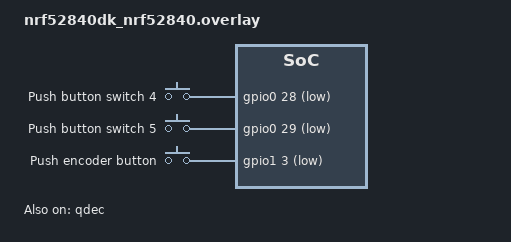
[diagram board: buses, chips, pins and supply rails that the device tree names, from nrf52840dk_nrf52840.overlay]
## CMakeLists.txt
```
# SPDX-License-Identifier: Apache-2.0

cmake_minimum_required(VERSION 3.20.0)
find_package(Zephyr REQUIRED HINTS $ENV{ZEPHYR_BASE})
project(bmk_firmware)

FILE(GLOB app_sources src/*.c)
target_sources(app PRIVATE
  src/main.c
  src/board.c
#  src/led.c
#  src/display.c
#  src/i2c_devices.c
#  src/charger.c
#  src/lis2dh/lis2dh.c
#  src/max17048/max17048.c
#  src/pictures/gta_picture.c
#  src/pictures/vsc_picture.c
#  src/pictures/altium_picture.c
#  src/pictures/logo_picture.c
#  src/pictures/ble_picture.c
#  src/pictures/battery_picture.c
#  src/pictures/plug_picture.c

)
```

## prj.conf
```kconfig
#
# Copyright (c) 2018 Nordic Semiconductor
#
# SPDX-License-Identifier: LicenseRef-Nordic-5-Clause
#

CONFIG_NCS_SAMPLES_DEFAULTS=y

CONFIG_NFCT_PINS_AS_GPIOS=y

# Enable RTT LOGGING
#CONFIG_USE_SEGGER_RTT=y
#CONFIG_LOG=y
#CONFIG_CONSOLE=y
#CONFIG_RTT_CONSOLE=y

CONFIG_BT=y
#CONFIG_BT_DEBUG_LOG=y
CONFIG_BT_MAX_CONN=2
CONFIG_BT_MAX_PAIRED=2
CONFIG_BT_SMP=y
CONFIG_BT_L2CAP_TX_BUF_COUNT=5
CONFIG_BT_PERIPHERAL=y
CONFIG_BT_DEVICE_NAME="BLE volume"
CONFIG_BT_DEVICE_APPEARANCE=961

CONFIG_BT_BAS=y
CONFIG_BT_HIDS=y
CONFIG_BT_HIDS_MAX_CLIENT_COUNT=2
CONFIG_BT_HIDS_DEFAULT_PERM_RW_ENCRYPT=y
CONFIG_BT_GATT_UUID16_POOL_SIZE=40
CONFIG_BT_GATT_CHRC_POOL_SIZE=20

CONFIG_BT_CONN_CTX=y

CONFIG_BT_DIS=y
CONFIG_BT_DIS_PNP=y
CONFIG_BT_DIS_MANUF="NordicSemiconductor"
CONFIG_BT_DIS_PNP_VID_SRC=2
CONFIG_BT_DIS_PNP_VID=0x1915
CONFIG_BT_DIS_PNP_PID=0xEEEF
CONFIG_BT_DIS_PNP_VER=0x0100

CONFIG_SYSTEM_WORKQUEUE_STACK_SIZE=2048

CONFIG_BT_SETTINGS=y
CONFIG_FLASH=y
CONFIG_FLASH_PAGE_LAYOUT=y
CONFIG_FLASH_MAP=y
CONFIG_NVS=y
CONFIG_SETTINGS=y

# POWER MANAGEMENT
#CONFIG_PM_DEVICE=y

# LED STRIP config
#CONFIG_LED_STRIP=y
#CONFIG_LED_STRIP_LOG_LEVEL_DBG=n
#CONFIG_WS2812_STRIP=y
#CONFIG_WS2812_STRIP_SPI=y

# SPI config
#CONFIG_SPI=y
#CONFIG_SPI_NRFX=y
#CONFIG_SPI_NRFX_RAM_BUFFER_SIZE=32

# DISPLAY config
#CONFIG_ST7789V=y
#CONFIG_ST7789V_RGB565=y
#CONFIG_DISPLAY=y
##CONFIG_DISPLAY_LOG_LEVEL_ERR=y

# LVGL config
#CONFIG_LVGL=y
#CONFIG_LV_COLOR_16_SWAP=y
#CONFIG_LV_USE_LABEL=y
#CONFIG_LV_FONT_DEFAULT_MONTSERRAT_24=y

# LED PWM
#CONFIG_PWM=y
#CONFIG_LED=y

# I2C
#CONFIG_I2C=y

CONFIG_SENSOR=y
```

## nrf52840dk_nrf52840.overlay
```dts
/ {
	buttons {
		compatible = "gpio-keys";
		button4: button_4 {
			gpios = <&gpio0 28 (GPIO_PULL_UP | GPIO_ACTIVE_LOW)>;
			label = "Push button switch 4";
		};
		button5: button_5 {
			gpios = <&gpio0 29 (GPIO_PULL_UP | GPIO_ACTIVE_LOW)>;
			label = "Push button switch 5";
		};
		buttonen: button_en {
			gpios = <&gpio1 3 (GPIO_PULL_UP | GPIO_ACTIVE_LOW)>;
			label = "Push encoder button";
		};
	};
};

&pinctrl {
    qdec_default: qdec_default {							
        group1 {
            psels = <NRF_PSEL(QDEC_A, 1, 1)>,
                <NRF_PSEL(QDEC_B, 1, 2)>;
        };
    };

    qdec_sleep: qdec_sleep {								
        group1 {
            psels = <NRF_PSEL(QDEC_A, 1, 1)>,
                <NRF_PSEL(QDEC_B, 1, 2)>;
            low-power-enable;
        };
    };
};

&qdec {														
	status = "okay";
	enable-pin = <36>;
	led-pre = <0>;
	steps = <80>;
	pinctrl-0 = <&qdec_default>;
	pinctrl-1 = <&qdec_sleep>;
	pinctrl-names = "default", "sleep";
};


/ {
    aliases {
        sw4 = &button4;
        sw5 = &button5;
		swen = &buttonen;
		qdec0 = &qdec;	
    };
};
```

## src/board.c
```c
//---------------------------------------------------------------------------
// Includes
//---------------------------------------------------------------------------
#include <zephyr/types.h>
#include <zephyr/device.h>
#include <zephyr/devicetree.h>
#include <stddef.h>
#include <string.h>
#include <errno.h>
#include <zephyr/sys/printk.h>
#include <zephyr/sys/byteorder.h>
#include <zephyr/kernel.h>
#include <zephyr/drivers/gpio.h>
#include <soc.h>

#include <zephyr/bluetooth/bluetooth.h>
#include <zephyr/bluetooth/hci.h>
#include <zephyr/bluetooth/conn.h>
#include <zephyr/bluetooth/uuid.h>
#include <zephyr/bluetooth/gatt.h>

#include <zephyr/settings/settings.h>

#include <zephyr/sys/printk.h>
#include <zephyr/logging/log.h>

#include "main.h"
#include "board.h"

//---------------------------------------------------------------------------
// Definitions 
//---------------------------------------------------------------------------
// const struct gpio_dt_spec led_red = GPIO_DT_SPEC_GET(LEDR_NODE, gpios);
// const struct gpio_dt_spec led_green = GPIO_DT_SPEC_GET(LEDG_NODE, gpios);
// const struct gpio_dt_spec led_blue = GPIO_DT_SPEC_GET(LEDB_NODE, gpios);

// const struct gpio_dt_spec enusbdet = GPIO_DT_SPEC_GET(ENUSBDET_NODE, gpios);
// const struct gpio_dt_spec usbdet = GPIO_DT_SPEC_GET(USBDET_NODE, gpios);

// const struct gpio_dt_spec chrgdet = GPIO_DT_SPEC_GET(CHRGDET_NODE, gpios);
// const struct gpio_dt_spec chrgen = GPIO_DT_SPEC_GET(CHRGEN_NODE, gpios);

// const struct gpio_dt_spec vleden = GPIO_DT_SPEC_GET(VLEDEN_NODE, gpios);

// const struct gpio_dt_spec buzzer = GPIO_DT_SPEC_GET(BUZZER_NODE, gpios);

// const struct gpio_dt_spec accelint1 = GPIO_DT_SPEC_GET(ACCEL1_NODE, gpios);
// const struct gpio_dt_spec accelint2 = GPIO_DT_SPEC_GET(ACCEL2_NODE, gpios);



const struct gpio_dt_spec switch4 = GPIO_DT_SPEC_GET(SW4_NODE, gpios);
const struct gpio_dt_spec switch5 = GPIO_DT_SPEC_GET(SW5_NODE, gpios);
const struct gpio_dt_spec switch_en = GPIO_DT_SPEC_GET(SW_EN_NODE, gpios);





//const struct gpio_dt_spec switch6 = GPIO_DT_SPEC_GET(SW6_NODE, gpios);
///const struct gpio_dt_spec switch7 = GPIO_DT_SPEC_GET(SW7_NODE, gpios);
// const struct gpio_dt_spec col2 = GPIO_DT_SPEC_GET(COL2_NODE, gpios);
// const struct gpio_dt_spec col3 = GPIO_DT_SPEC_GET(COL3_NODE, gpios);
// const struct gpio_dt_spec col4 = GPIO_DT_SPEC_GET(COL4_NODE, gpios);
// const struct gpio_dt_spec row1 = GPIO_DT_SPEC_GET(ROW1_NODE, gpios);
// const struct gpio_dt_spec row2 = GPIO_DT_SPEC_GET(ROW2_NODE, gpios);
// const struct gpio_dt_spec row3 = GPIO_DT_SPEC_GET(ROW3_NODE, gpios);

// const struct gpio_dt_spec disprst = GPIO_DT_SPEC_GET(DISPRST_NODE, gpios);
// const struct gpio_dt_spec dispbk = GPIO_DT_SPEC_GET(DISPBK_NODE, gpios);
// const struct gpio_dt_spec dispdc = GPIO_DT_SPEC_GET(DISPDC_NODE, gpios);
// const struct gpio_dt_spec dispcs = GPIO_DT_SPEC_GET(DISPCS_NODE, gpios);
//const struct gpio_dt_spec dispdata = GPIO_DT_SPEC_GET(DISPDATA_NODE, gpios);
//const struct gpio_dt_spec dispclk = GPIO_DT_SPEC_GET(DISPCLK_NODE, gpios);

//---------------------------------------------------------------------------
// Implementation 
//---------------------------------------------------------------------------
//===============================================================================================================
int gpio_init(void)
{
	int ret=0;

	// if(!device_is_ready(col1.port)) return -1;
	// if(!device_is_ready(col2.port)) return -1;
	// if(!device_is_ready(col3.port)) return -1;
	// if(!device_is_ready(col4.port)) return -1;
	// if(!device_is_ready(row1.port)) return -1;
	// if(!device_is_ready(row2.port)) return -1;
	// if(!device_is_ready(row3.port)) return -1;				//czy to dla wszystkich pinow?

	// ret = gpio_pin_configure_dt(&led_red, GPIO_OUTPUT);
	// if(ret!=0) return ret;
	// gpio_pin_set_dt(&led_red,0);

	// ret = gpio_pin_configure_dt(&led_green, GPIO_OUTPUT);
	// if(ret!=0) return ret;
	// gpio_pin_set_dt(&led_green,0);

	// ret = gpio_pin_configure_dt(&led_blue, GPIO_OUTPUT);
	// if(ret!=0) return ret;
	// gpio_pin_set_dt(&led_blue,0);

	// ret = gpio_pin_configure_dt(&buzzer, GPIO_OUTPUT);
	// if(ret!=0) return ret;
	// gpio_pin_set_dt(&buzzer,0);

	// ret = gpio_pin_configure_dt(&vleden, GPIO_OUTPUT);
	// if(ret!=0) return ret;
	// gpio_pin_set_dt(&vleden,0);

	// ret = gpio_pin_configure_dt(&enusbdet, GPIO_OUTPUT);
	// if(ret!=0) return ret;
	// gpio_pin_set_dt(&enusbdet,0);







	ret = gpio_pin_configure_dt(&switch4, GPIO_INPUT);
	if(ret!=0) return ret;

	ret = gpio_pin_configure_dt(&switch5, GPIO_INPUT);
	if(ret!=0) return ret;

	ret = gpio_pin_configure_dt(&switch_en, GPIO_INPUT);
	if(ret!=0) return ret;








	// ret = gpio_pin_configure_dt(&switch6, GPIO_INPUT);
	// if(ret!=0) return ret;

	// ret = gpio_pin_configure_dt(&switch7, GPIO_INPUT);
	// if(ret!=0) return ret;
	
	// charger_off();

	// ret = gpio_pin_configure_dt(&chrgdet, GPIO_INPUT);
	// if(ret!=0) return ret;

	// ret = gpio_pin_configure_dt(&dispbk, GPIO_OUTPUT);
	// if(ret!=0) return ret;
	// gpio_pin_set_dt(&dispbk,0);

	// ret = gpio_pin_configure_dt(&accelint1, GPIO_INPUT);
	// if(ret!=0) return ret;

	// ret = gpio_pin_configure_dt(&accelint2, GPIO_INPUT);
	// if(ret!=0) return ret;

	// ret = gpio_pin_configure_dt(&col1, GPIO_OUTPUT);
	// if(ret!=0) return ret;
	// gpio_pin_set_dt(&col1,1);

	// ret = gpio_pin_configure_dt(&col2, GPIO_OUTPUT);
	// if(ret!=0) return ret;
	// gpio_pin_set_dt(&col2,1);
	
	// ret = gpio_pin_configure_dt(&col3, GPIO_OUTPUT);
	// if(ret!=0) return ret;
	// gpio_pin_set_dt(&col3,1);

	// ret = gpio_pin_configure_dt(&col4, GPIO_OUTPUT);
	// if(ret!=0) return ret;
	// gpio_pin_set_dt(&col4,1);

	// ret = gpio_pin_configure_dt(&row1, GPIO_INPUT| GPIO_PULL_UP);
	// if(ret!=0) return ret;
	// ret = gpio_pin_configure_dt(&row2, GPIO_INPUT| GPIO_PULL_UP);
	// if(ret!=0) return ret;
	// ret = gpio_pin_configure_dt(&row3, GPIO_INPUT| GPIO_PULL_UP);
	// if(ret!=0) return ret;

	return ret;
}

//===============================================================================================================
// int charger_on(void)
// {
// 	int ret=0;
	
// 	ret = gpio_pin_configure_dt(&chrgen, GPIO_OUTPUT);
// 	if(ret!=0) return ret;
// 	gpio_pin_set_dt(&chrgen,0);

// 	return 0;
// }

// //===============================================================================================================
// int charger_off(void)
// {
// 	int ret=0;
// 	ret = gpio_pin_configure_dt(&chrgen, GPIO_INPUT);
// 	return ret;
// }

//===============================================================================================================
```

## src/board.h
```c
#ifndef BOARD_H__
#define BOARD_H__

//UNUSED PINS, BUT DEFINED
//SPI0, WS2812:
//MISO: P1.08 (SIO40)
//SCK:  P1.09 (SIO41)

//SPI3, LCD
//MISO: P0.14 (SIO14)

//sio26 
//sio28

//nrf_gpio_cfg_input(CHRG_MON, NRF_GPIO_PIN_PULLUP);
//nrf_gpio_cfg_input(USB_DETECT, NRF_GPIO_PIN_NOPULL);
//nrf_gpio_cfg_input(ACCEL_INT_1, NRF_GPIO_PIN_PULLDOWN);
//nrf_gpio_cfg_input(CHRG_PRG,NRF_GPIO_PIN_NOPULL);

//----------------------------------------------------------------- 
// #define	LEDR_NODE		DT_ALIAS(ledr)
// #define	LEDG_NODE		DT_ALIAS(ledg)
// #define	LEDB_NODE		DT_ALIAS(ledb)

// #define	ENUSBDET_NODE	DT_ALIAS(enusbdet)
// #define	USBDET_NODE		DT_ALIAS(usbdet)

// #define	CHRGEN_NODE		DT_ALIAS(chargeren)
// #define	CHRGDET_NODE	DT_ALIAS(chargerdet)

// #define	VLEDEN_NODE		DT_ALIAS(vleden)

// #define	BUZZER_NODE		DT_ALIAS(buzzer)

// #define	ACCEL1_NODE		DT_ALIAS(accelint1)
// #define	ACCEL2_NODE		DT_ALIAS(accelint2)





#define	SW4_NODE		DT_ALIAS(sw4)
#define	SW5_NODE		DT_ALIAS(sw5)
#define	SW_EN_NODE		DT_ALIAS(swen)









// #define	SW6_NODE		DT_ALIAS(sw6)
// #define	SW7_NODE		DT_ALIAS(sw7)
// #define	ROW1_NODE		DT_ALIAS(row1)
// #define	ROW2_NODE		DT_ALIAS(row2)
// #define	ROW3_NODE		DT_ALIAS(row3)

// #define	DISPRST_NODE	DT_ALIAS(disprst)
// #define	DISPBK_NODE		DT_ALIAS(dispbk)
// #define	DISPCS_NODE		DT_ALIAS(dispcs)
// #define	DISPDC_NODE		DT_ALIAS(dispdc)

//----------------------------------------------------------------- 
// extern const struct gpio_dt_spec led_red;
// extern const struct gpio_dt_spec led_green;
// extern const struct gpio_dt_spec led_blue;

// extern const struct gpio_dt_spec enusbdet;
// extern const struct gpio_dt_spec usbdet;

// extern const struct gpio_dt_spec chrgdet;
// extern const struct gpio_dt_spec chrgen;

// extern const struct gpio_dt_spec vleden;

// extern const struct gpio_dt_spec buzzer;

// extern const struct gpio_dt_spec accelint1;
// extern const struct gpio_dt_spec accelint2;

extern const struct gpio_dt_spec switch4;
extern const struct gpio_dt_spec switch5;
extern const struct gpio_dt_spec switch_en;
// extern const struct gpio_dt_spec switch6;
// extern const struct gpio_dt_spec switch7;
// extern const struct gpio_dt_spec row1;
// extern const struct gpio_dt_spec row2;
// extern const struct gpio_dt_spec row3;

// extern const struct gpio_dt_spec disprst;
// extern const struct gpio_dt_spec dispbk;
// extern const struct gpio_dt_spec dispcs;
// extern const struct gpio_dt_spec dispdc;

// #define     led_red_on()            gpio_pin_set_dt(&led_red,1);         //
// #define     led_red_off()           gpio_pin_set_dt(&led_red,0);
// #define     led_green_on()          gpio_pin_set_dt(&led_green,1);
// #define     led_green_off()         gpio_pin_set_dt(&led_green,0);
// #define     led_blue_on()           gpio_pin_set_dt(&led_blue,1);
// #define     led_blue_off()          gpio_pin_set_dt(&led_blue,0);

// #define     usb_detection_on()      gpio_pin_set_dt(&enusbdet,1);
// #define     usb_detection_off()     gpio_pin_set_dt(&enusbdet,0);

// #define     vled_on()               gpio_pin_set_dt(&vleden,1);
// #define     vled_off()              gpio_pin_set_dt(&vleden,0);

// #define     lcd_backlight_on()      gpio_pin_set_dt(&dispbk,1)
// #define     lcd_backlight_off()     gpio_pin_set_dt(&dispbk,0)

// #define     RST_H()                 gpio_pin_set_dt(&disprst,1);
// #define     RST_L()                 gpio_pin_set_dt(&disprst,0);

// #define     DC_H()                  gpio_pin_set_dt(&dispdc,1);
// #define     DC_L()                  gpio_pin_set_dt(&dispdc,0);

// #define     CS_H()                  gpio_pin_set_dt(&dispcs,1);
// #define     CS_L()                  gpio_pin_set_dt(&dispcs,0);

//----------------------------------------------------------------- 
int gpio_init(void);
// int charger_on(void);
// int charger_off(void);


#endif 
```

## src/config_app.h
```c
#ifndef CONFIG_APP_H__
#define CONFIG_APP_H__

//======================================================= APPLICATION FEATURES
//#define	        USE_DISPLAY                     1
#ifdef          USE_DISPLAY
    #define	    USE_GTA_PICTURE                 1
    #define	    USE_ALTIUM_PICTURE              1
    #define	    USE_VSC_PICTURE                 1
    #define	    USE_LOGO_PICTURE                1
    #define	    USE_BLE_PICTURE                 1
    #define	    USE_BATTERY_PICTURE             1
    #define	    USE_PLUG_PICTURE                1
#endif

#define         USE_BLE                         1 
//#define         USE_MATRIX_KEYBOARD             1
//#define	        USE_USB                         1
//#define	        USE_CHARGER                     1
//#define	        USE_LIS2DH                      1
//#define	        USE_MAX17048                    1
//#define	        USE_LED                         1

//======================================================= APPLICATION TEST
//#define         MAKE_TEST                       1             
#ifdef          MAKE_TEST
    #define     MAKE_LED_PWM_TEST               1 
    #define     MAKE_LED_STRIP_TEST             1 
#endif

//======================================================= APPLICATION DEBUG LOGGER
#define         DEBUG_LOG_APP                   1
#ifdef          DEBUG_LOG_APP                     
    #define     DEBUG_LOG_HID                   1
    #define     DEBUG_LOG_DEVICE                1
    //#define     DEBUG_LOG_MATRIX_KEYBOARD       1
    //#define     DEBUG_LOG_LED                   1
    //#define     DEBUG_LOG_LIS2DH                1
    //#define     DEBUG_LOG_MAX17048              1
    //#define     DEBUG_LOG_I2C_DEVICES           1
    //#define     DEBUG_LOG_USB                   1
    //#define     DEBUG_LOG_CHARGER               1

#endif

//======================================================= APPLICATION SETTINGS 
#define         ACCEL_SENS                      110
#define         DEVICE_ACTIVE_TIME              50
#define         DISPLAY_TO_DEFAULT_TIME         50
#define         BAS_TIME                        100

//======================================================= 

#endif
```

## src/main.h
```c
#ifndef MAIN_H__
#define MAIN_H__

/*---------------------------------------------------------------------------*/
/* Definitions */
/*---------------------------------------------------------------------------*/

//------------------------------------------------------------ system errors
#define         RESULT_OK                       0
#define         RESULT_ERR                      1
#define         BUSY                            2
#define         TIMEOUT                         3    
#define         BAD_PARAMETER                   4    
#define         UNAVAILABLE                     5
#define         INVALID_COMMAND                 6
#define         INVALID_PARAMETER               7
#define         INVALID_DATA_LENGHT             8    
#define         INVALID_STATE                   9
#define         TERMINATED                      10
#define         SUSPENDED                       11

//------------------------------------------------------------ device states
#define         BMK_STANDBY                     0
#define         BMK_ACTIVE                      1

//------------------------------------------------------------ pairing state
#define         NO_ACTION                       0
#define         PAIRING                         1
#define         PAIRING_ON_DISPLAY              2
#define         PAIRED                          3
#define         PAIRED_ON_DISPLAY               4
#define         PAIRING_CANCELED                5
#define         PAIRING_CANCELED_ON_DISPLAY     6
#define         PAIRING_ERROR                   7
#define         PAIRING_ERROR_ON_DISPLAY        8
#define         CONNECTED                       9
#define         DISCONNECTED                    10


typedef struct button_filter_def  
{
    uint32_t counter;
    uint32_t blocker;
}button_filter_t;   

/*---------------------------------------------------------------------------*/
/* Global objects */
/*---------------------------------------------------------------------------*/


/*---------------------------------------------------------------------------*/
/* Public functions */
/*---------------------------------------------------------------------------*/
int hid_buttons_press(const uint8_t *keys, size_t cnt);
int hid_buttons_release(const uint8_t *keys, size_t cnt);
void device_active_time_reset(void);
void device_active_time_stop(void);
void display_default_time_reset(void);
void display_default_time_stop(void);		
void num_comp_reply(bool accept);



#endif 
```

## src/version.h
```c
#ifndef VERSION_H__
#define VERSION_H__

#include <string.h>

#define     VERSION_MAJOR       0
#define     VERSION_MINOR       3

#define     DATE_YY             24    
#define     DATE_MM             02
#define     DATE_DD             11

#define     STR_VER             "Ver.0.03"
#define     STR_DATE            "2024-02-11"

#endif

//---------------------------------------------------------------------------
// Includes
//---------------------------------------------------------------------------
//---------------------------------------------------------------------------
// Definitions 
//---------------------------------------------------------------------------
//---------------------------------------------------------------------------
// Global objects 
//---------------------------------------------------------------------------
//---------------------------------------------------------------------------
// Local objects 
//---------------------------------------------------------------------------
//---------------------------------------------------------------------------
// Private functions 
//---------------------------------------------------------------------------
//---------------------------------------------------------------------------
// Implementation 
//---------------------------------------------------------------------------
```
